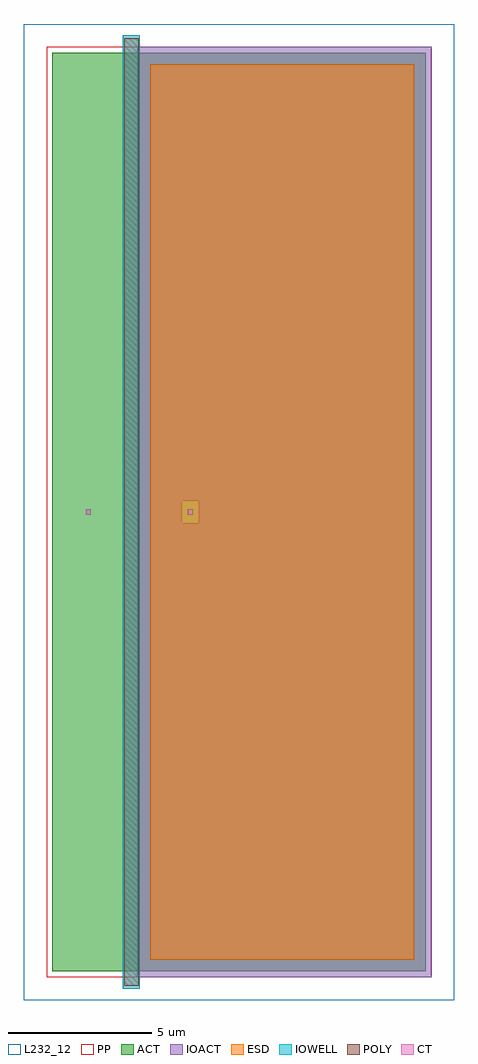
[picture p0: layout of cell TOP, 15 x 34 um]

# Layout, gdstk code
import gdstk
lib = gdstk.Library(unit=1e-6, precision=1e-09)
def R(c, l, rs):  # rectangles x0, y0, x1, y1
    for r in rs: c.add(gdstk.rectangle(r[:2], r[2:], *l))
ACT = (2, 1)
IOWELL = (28, 1)
POLY = (41, 1)
PP = (53, 1)
ESD = (55, 1)
IOACT = (71, 1)
CT = (72, 1)
L232_12 = (232, 12)

top = lib.new_cell('TOP')
R(top, ACT, [(0,0,13,32)])
R(top, IOWELL, [(2.45,-0.6,3.05,32.6)])
R(top, POLY, [(2.5,-0.5,3,32.5)])
R(top, PP, [(-0.2,-0.2,13.2,32.2)])
R(top, ESD, [(3.4,0.4,12.6,31.6)])
R(top, IOACT, [(2.95,-0.21,13.21,15.6), (2.95,15.6,4.5,16.4), (5.1,15.6,13.21,16.4), (2.95,16.4,13.21,32.21)])
R(top, CT, [(1.16,15.91,1.34,16.09), (4.71,15.91,4.89,16.09)])
R(top, L232_12, [(-1,-1,14,33)])

lib.write_gds('TOP.gds')
